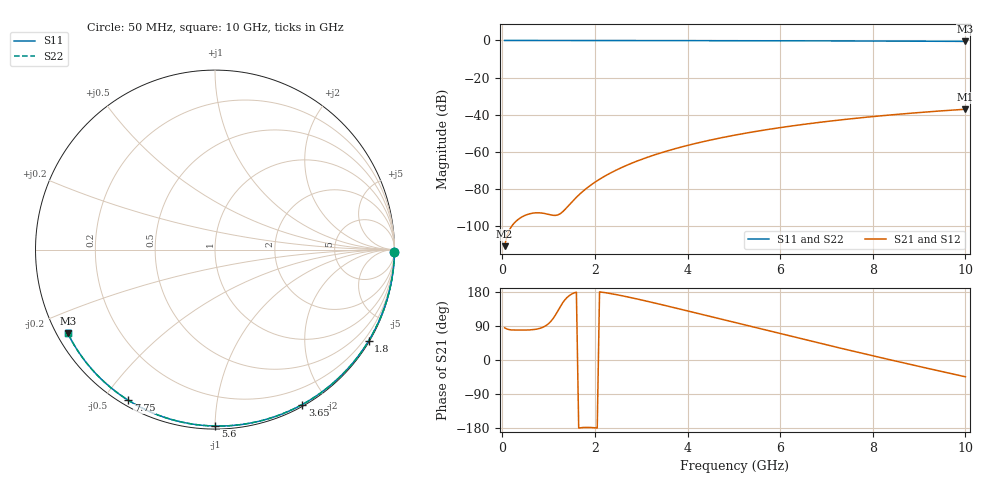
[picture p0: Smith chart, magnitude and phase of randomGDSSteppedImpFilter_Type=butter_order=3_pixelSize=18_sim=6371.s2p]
! freq	dB(S11)	phase(S11)	dB(S12)	phase(S12)
!  dB(S21)	phase(S21)	dB(S22)	phase(S22)
!S-par simulation data
#  GHz  S  DB  R 50
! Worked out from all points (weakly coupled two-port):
!   200 points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, 50 MHz to 10 GHz, reference 50 ohm
!   highest |S21| = -37.07 dB at 10 GHz (marker M1); lowest = -110.9 dB at 50 MHz (marker M2)
!   lowest |S11| = -0.5 dB at 10 GHz (marker M3), VSWR 34.30, Z = 1.56 - j13.2 ohm
!   |S11| at or under -10 dB: nowhere
!   |S22| runs from -0.5 to 0.0 dB; largest |S21 - S12| = 0
!   S11 on the Smith chart (normalised r, x): 50 MHz: open; 1.8 GHz: 0.03, -3.65; 3.65 GHz: 0.02, -1.71; 5.6 GHz: 0.02, -1.00; 7.75 GHz: 0.02, -0.58; 10 GHz: 0.03, -0.26
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0.05  -0.00 -0.9  -110.89 85.1  -110.89 85.1  -0.00 -0.9
0.45  -0.01 -7.8  -94.78 78.9  -94.78 78.9  -0.01 -7.8
0.9  -0.02 -15.5  -93.20 87.8  -93.20 87.8  -0.02 -15.5
1.3  -0.03 -22.3  -92.43 150.2  -92.43 150.2  -0.03 -22.3
1.75  -0.04 -29.8  -81.11 -178.1  -81.11 -178.1  -0.04 -29.8
1.8  -0.04 -30.7  -80.08 -177.8  -80.08 -177.8  -0.04 -30.7
2  -0.04 -34.0  -76.42 -178.9  -76.42 -178.9  -0.04 -34.0
2.15  -0.05 -36.5  -74.06 179.0  -74.06 179.0  -0.05 -36.5
2.5  -0.05 -42.2  -69.40 171.6  -69.40 171.6  -0.05 -42.2
2.9  -0.06 -48.7  -65.12 161.3  -65.12 161.3  -0.06 -48.7
3.4  -0.08 -56.7  -60.77 147.2  -60.77 147.2  -0.08 -56.7
3.65  -0.08 -60.6  -58.92 139.9  -58.92 139.9  -0.08 -60.6
4.3  -0.10 -70.7  -54.77 120.6  -54.77 120.6  -0.10 -70.7
5.05  -0.13 -81.9  -50.90 98.0  -50.90 98.0  -0.13 -81.9
5.6  -0.15 -89.9  -48.52 81.5  -48.52 81.5  -0.15 -89.9
6.15  -0.17 -97.8  -46.44 65.1  -46.44 65.1  -0.17 -97.8
6.7  -0.21 -105.5  -44.61 48.9  -44.61 48.9  -0.21 -105.5
7.2  -0.24 -112.4  -43.12 34.2  -43.12 34.2  -0.24 -112.4
7.75  -0.28 -119.9  -41.65 18.3  -41.65 18.3  -0.28 -119.9
8.35  -0.33 -128.0  -40.22 1.3  -40.22 1.3  -0.33 -128.0
9.2  -0.41 -139.5  -38.47 -22.5  -38.47 -22.5  -0.41 -139.5
10  -0.51 -150.4  -37.07 -44.3  -37.07 -44.3  -0.51 -150.4
